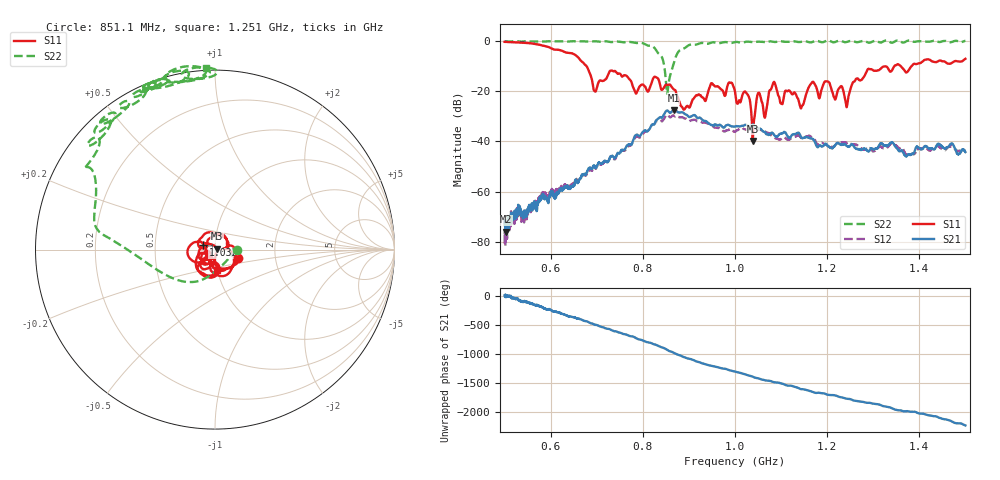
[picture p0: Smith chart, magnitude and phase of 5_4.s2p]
!Agilent Technologies,E8364B,US42250235,A.06.04.32
!Agilent E8364B: A.06.04.32
!Date: Thursday, October 01, 2020 16:04:03
!Correction: S11(Full 2 Port(1,2)) S21(Full 2 Port(1,2)) S12(Full 2 Port(1,2)) S22(Full 2 Port(1,2))
!S2P File: Measurements: S11, S21, S12, S22:
# Hz S  dB  R 50
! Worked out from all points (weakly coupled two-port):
!   2650 points, 500 MHz to 1.5 GHz, reference 50 ohm
!   highest |S21| = -27.59 dB at 866.6 MHz (marker M1); lowest = -76.0 dB at 503 MHz (marker M2)
!   lowest |S11| = -39.8 dB at 1.038 GHz (marker M3), VSWR 1.02, Z = 50.9 + j0.499 ohm
!   |S11| at or under -10 dB: 678.1 MHz to 1.346 GHz (667.6 MHz wide, 66 % of centre); 1.36 GHz to 1.383 GHz (23 MHz wide, 1.68 % of centre)
!   |S22| runs from -20.9 to 0.3 dB; largest |S21 - S12| = 0.0093
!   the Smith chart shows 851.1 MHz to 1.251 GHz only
!   S11 on the Smith chart (normalised r, x): 851.1 MHz: 1.28, -0.12; 1.032 GHz: 0.87, +0.04; 1.251 GHz: 0.99, -0.23
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5e8  -0.26 -175.3  -73.34 19.9  -80.74 53.0  0.02 143.5
5.0302e8  -0.28 -176.8  -75.99 -14.2  -79.50 36.0  -0.01 144.6
5.917327e8  -2.14 125.4  -63.40 128.9  -61.83 145.0  -0.06 127.9
6.668554e8  -8.02 61.3  -53.60 -40.0  -53.65 -43.8  -0.04 124.8
6.963005e8  -20.04 68.3  -50.24 -134.5  -50.42 -131.6  -0.01 121.0
7.325406e8  -11.72 81.7  -45.87 132.7  -46.02 134.8  -0.35 112.5
7.963382e8  -17.45 49.4  -37.18 -33.0  -37.75 -26.4  -0.64 97.9
8.337108e8  -15.13 -5.1  -30.78 -140.2  -31.68 -142.7  -4.86 54.1
8.510759e8  -17.39 -20.7  -27.76 160.8  -29.40 161.6  -18.37 -0.4
8.665534e8  -19.12 -71.9  -27.59 103.7  -29.61 105.6  -9.09 -162.7
8.88826e8  -27.30 -146.2  -28.73 28.4  -30.65 35.7  -2.92 159.0
9.499811e8  -16.76 -28.7  -33.48 -125.6  -33.69 -121.9  -0.49 130.1
1.000189e9  -20.34 -162.9  -34.04 136.0  -36.09 142.1  -0.34 120.5
1.031521e9  -22.91 159.5  -33.97 66.1  -35.22 75.6  -0.25 118.3
1.038316e9  -39.82 28.7  -33.24 48.3  -34.35 61.9  -0.39 115.8
1.050396e9  -20.65 -126.1  -34.80 18.7  -35.21 28.6  -0.17 113.5
1.083239e9  -16.59 -160.2  -36.97 -46.5  -38.17 -41.7  -0.23 113.8
1.144394e9  -26.16 8.0  -38.55 -168.9  -38.66 -145.3  -0.22 105.8
1.166667e9  -16.53 -56.2  -38.80 148.8  -38.39 161.0  -0.38 101.2
1.251227e9  -18.66 -84.6  -41.35 15.8  -41.03 23.4  0.12 92.7
1.333522e9  -11.32 -162.2  -41.26 -119.2  -41.90 -94.1  -0.01 97.4
1.5e9  -7.03 146.4  -44.26 -78.9  -43.78 -47.0  0.20 71.7
